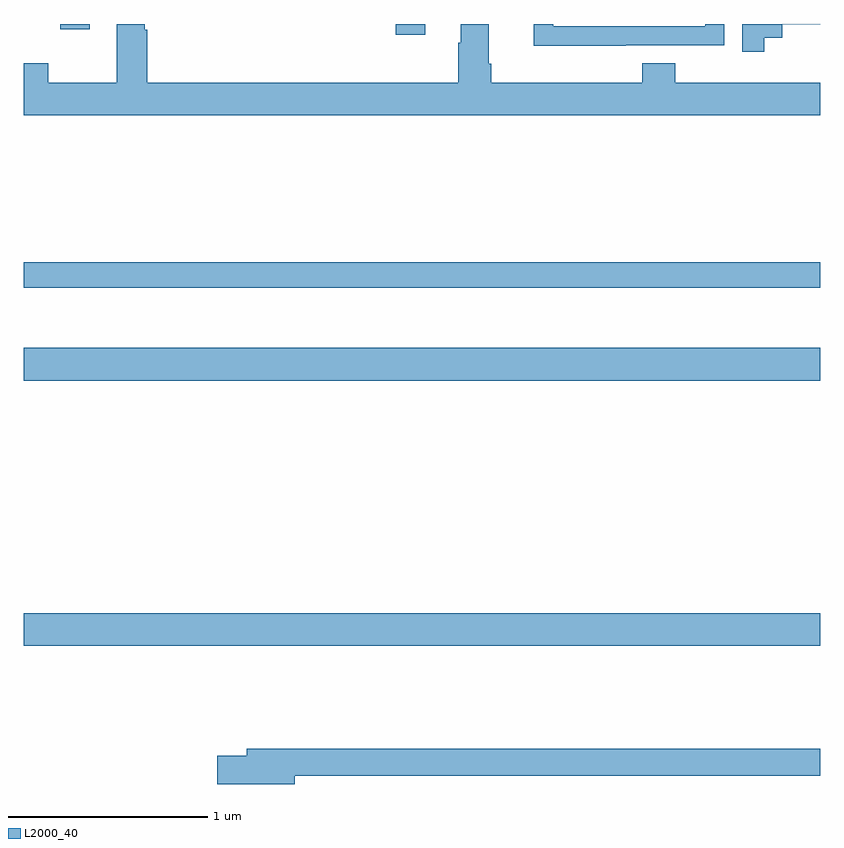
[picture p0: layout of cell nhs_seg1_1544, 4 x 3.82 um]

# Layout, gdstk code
import gdstk
lib = gdstk.Library(unit=1e-6, precision=1e-09)
def R(c, l, rs):  # rectangles x0, y0, x1, y1
    for r in rs: c.add(gdstk.rectangle(r[:2], r[2:], *l))
def P(c, l, *ps):  # polygons
    for p in ps: c.add(gdstk.Polygon(p, *l))
L2000_40 = (2000, 40)

nhs_seg1_1544 = lib.new_cell('nhs_seg1_1544')
R(nhs_seg1_1544, L2000_40, [(195,541.076,199,541.24), (195,542.408,199,542.572), (195,542.874,199,543.002), (196.869,544.146,197.017,544.199), (195.183,544.173,195.331,544.199)])
P(nhs_seg1_1544, L2000_40, [(199,543.904),(198.272,543.904),(198.272,544.003),(198.107,544.003),(198.107,543.904),(197.348,543.904),(197.348,544),(197.335,544),(197.335,544.199),(197.195,544.199),(197.195,544.106),(197.183,544.106),(197.183,543.904),(195.62,543.904),(195.62,544.169),(195.607,544.169),(195.607,544.199),(195.467,544.199),(195.467,543.904),(195.123,543.904),(195.123,544.003),(195,544.003),(195,543.74),(199,543.74)],
  [(198.023,544.092),(198.519,544.092),(198.519,544.199),(198.423,544.199),(198.423,544.188),(197.658,544.188),(197.658,544.199),(197.56,544.199),(197.56,544.091),(198.023,544.091)],
  [(198.718,544.129),(198.81,544.129),(198.81,544.197),(199,544.197),(199,544.199),(198.609,544.199),(198.609,544.059),(198.718,544.059)],
  [(196.36,540.424),(199,540.424),(199,540.56),(196.121,540.56),(196.121,540.524),(195.972,540.524),(195.972,540.382),(196.36,540.382)])

lib.write_gds('nhs_seg1_1544.gds')
